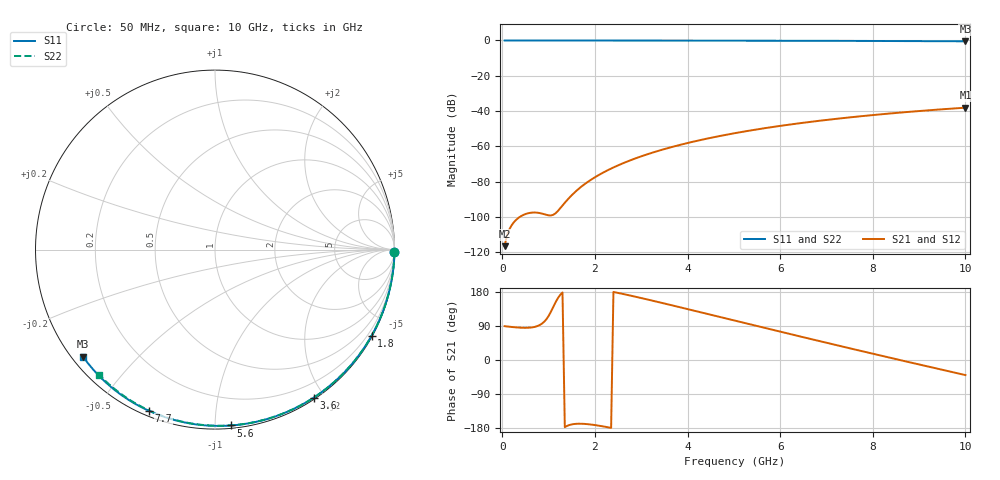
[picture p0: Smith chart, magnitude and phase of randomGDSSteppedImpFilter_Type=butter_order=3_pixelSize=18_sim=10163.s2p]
! freq	dB(S11)	phase(S11)	dB(S12)	phase(S12)
!  dB(S21)	phase(S21)	dB(S22)	phase(S22)
!S-par simulation data
#  GHz  S  DB  R 50
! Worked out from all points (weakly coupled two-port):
!   200 points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, 50 MHz to 10 GHz, reference 50 ohm
!   highest |S21| = -38.08 dB at 10 GHz (marker M1); lowest = -116.5 dB at 50 MHz (marker M2)
!   lowest |S11| = -0.5 dB at 10 GHz (marker M3), VSWR 36.58, Z = 1.54 - j17.7 ohm
!   |S11| at or under -10 dB: nowhere
!   |S22| runs from -0.4 to 0.0 dB; largest |S21 - S12| = 0
!   S11 on the Smith chart (normalised r, x): 50 MHz: open; 1.8 GHz: 0.03, -3.89; 3.6 GHz: 0.02, -1.87; 5.6 GHz: 0.02, -1.10; 7.7 GHz: 0.02, -0.67; 10 GHz: 0.03, -0.35
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0.05  -0.00 -0.8  -116.54 89.3  -116.54 89.3  -0.00 -0.8
0.45  -0.01 -7.3  -98.90 85.0  -98.90 85.0  -0.01 -6.9
0.9  -0.02 -14.6  -98.41 100.4  -98.41 100.4  -0.02 -13.7
1.75  -0.04 -28.1  -81.95 -168.4  -81.95 -168.4  -0.03 -26.5
1.8  -0.04 -28.9  -80.98 -168.8  -80.98 -168.8  -0.03 -27.2
1.85  -0.04 -29.6  -80.06 -169.4  -80.06 -169.4  -0.04 -27.9
2.15  -0.04 -34.3  -75.24 -174.6  -75.24 -174.6  -0.04 -32.4
2.35  -0.05 -37.4  -72.56 -179.2  -72.56 -179.2  -0.05 -35.3
2.55  -0.05 -40.5  -70.18 175.8  -70.18 175.8  -0.05 -38.2
2.95  -0.06 -46.6  -66.10 164.9  -66.10 164.9  -0.06 -44.0
3.4  -0.07 -53.4  -62.29 152.1  -62.29 152.1  -0.07 -50.4
3.6  -0.08 -56.4  -60.80 146.2  -60.80 146.2  -0.07 -53.2
3.9  -0.08 -60.8  -58.74 137.4  -58.74 137.4  -0.08 -57.4
4.3  -0.09 -66.6  -56.29 125.5  -56.29 125.5  -0.09 -62.9
5.05  -0.12 -77.2  -52.39 103.1  -52.39 103.1  -0.11 -72.9
5.6  -0.14 -84.7  -49.97 86.7  -49.97 86.7  -0.13 -80.1
6.15  -0.16 -92.2  -47.85 70.4  -47.85 70.4  -0.15 -87.1
6.7  -0.19 -99.4  -45.96 54.2  -45.96 54.2  -0.18 -94.0
7.7  -0.26 -112.3  -43.04 25.2  -43.04 25.2  -0.24 -106.1
8.35  -0.31 -120.5  -41.42 6.6  -41.42 6.6  -0.29 -113.8
9.2  -0.39 -131.0  -39.57 -17.4  -39.57 -17.4  -0.36 -123.7
10  -0.48 -141.0  -38.08 -39.8  -38.08 -39.8  -0.45 -132.8
